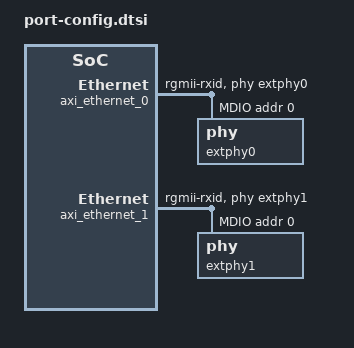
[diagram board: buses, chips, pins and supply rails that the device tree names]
// SPDX-License-Identifier: MIT
// Copyright (C) 2025-2026, Opsero Electronic Design Inc.  All rights reserved.

/*
 * Ethernet FMC port config: ports 0 and 1 only (ports-01--).
 *
 * Used by targets whose Vivado design instantiates only the first two AXI
 * Ethernet cores (e.g. zcu102_hpc1, which wires only HPC1 lanes 0-1). Wires the
 * external Ethernet FMC PHYs onto axi_ethernet_0/_1; the nodes come from the
 * SDT's pl.dtsi (generated from the XSA), this overlay adds the MAC address,
 * PHY handle, MDIO bus and RGMII phy-mode the XSA does not carry.
 *
 * Selected per target by the bsp/port-configs/ports-01-- overlay layer.
 */

&axi_ethernet_0 {
	/delete-property/ xlnx,phy-type;
	local-mac-address = [00 0a 35 00 01 22];
	phy-handle = <&extphy0>;
	xlnx,has-mdio = <0x1>;
	phy-mode = "rgmii-rxid";
	mdio {
		#address-cells = <1>;
		#size-cells = <0>;
		extphy0: phy@0 {
			device_type = "ethernet-phy";
			reg = <0>;
		};
	};
};

&axi_ethernet_1 {
	/delete-property/ xlnx,phy-type;
	local-mac-address = [00 0a 35 00 01 23];
	phy-handle = <&extphy1>;
	xlnx,has-mdio = <0x1>;
	phy-mode = "rgmii-rxid";
	mdio {
		#address-cells = <1>;
		#size-cells = <0>;
		extphy1: phy@0 {
			device_type = "ethernet-phy";
			reg = <0>;
		};
	};
};
